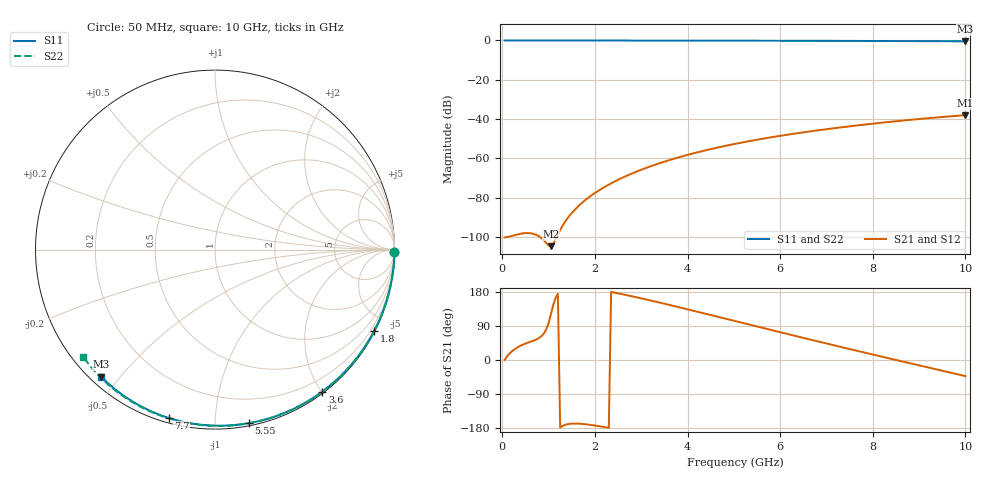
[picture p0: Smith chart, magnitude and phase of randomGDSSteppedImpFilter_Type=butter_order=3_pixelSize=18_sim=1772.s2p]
! freq	dB(S11)	phase(S11)	dB(S12)	phase(S12)
!  dB(S21)	phase(S21)	dB(S22)	phase(S22)
!S-par simulation data
#  GHz  S  DB  R 50
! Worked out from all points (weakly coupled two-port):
!   200 points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, 50 MHz to 10 GHz, reference 50 ohm
!   highest |S21| = -37.99 dB at 10 GHz (marker M1); lowest = -104.6 dB at 1.05 GHz (marker M2)
!   lowest |S11| = -0.4 dB at 10 GHz (marker M3), VSWR 39.00, Z = 1.54 - j22.3 ohm
!   |S11| at or under -10 dB: nowhere
!   |S22| runs from -0.5 to 0.0 dB; largest |S21 - S12| = 0
!   S11 on the Smith chart (normalised r, x): 50 MHz: open; 1.8 GHz: 0.04, -4.15; 3.6 GHz: 0.02, -2.01; 5.55 GHz: 0.02, -1.21; 7.7 GHz: 0.02, -0.76; 10 GHz: 0.03, -0.45
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0.05  -0.00 -0.8  -100.16 -0.2  -100.16 -0.2  -0.00 -0.8
0.55  -0.01 -8.4  -97.92 45.6  -97.92 45.6  -0.01 -9.0
1.05  -0.02 -15.9  -104.59 121.0  -104.59 121.0  -0.02 -17.1
1.75  -0.03 -26.3  -81.97 -168.9  -81.97 -168.9  -0.04 -28.2
1.8  -0.03 -27.1  -81.00 -169.5  -81.00 -169.5  -0.04 -29.0
1.85  -0.04 -27.8  -80.08 -170.3  -80.08 -170.3  -0.04 -29.8
2.05  -0.04 -30.7  -76.77 -173.8  -76.77 -173.8  -0.04 -32.9
2.2  -0.04 -32.9  -74.61 -177.0  -74.61 -177.0  -0.04 -35.3
2.55  -0.05 -38.0  -70.26 174.7  -70.26 174.7  -0.05 -40.7
2.95  -0.06 -43.8  -66.19 164.1  -66.19 164.1  -0.06 -46.8
3.4  -0.07 -50.1  -62.38 151.4  -62.38 151.4  -0.07 -53.6
3.6  -0.07 -52.9  -60.88 145.6  -60.88 145.6  -0.08 -56.6
3.9  -0.08 -57.1  -58.82 136.8  -58.82 136.8  -0.08 -61.0
4.3  -0.09 -62.5  -56.36 124.8  -56.36 124.8  -0.09 -66.8
5.05  -0.11 -72.5  -52.46 102.1  -52.46 102.1  -0.12 -77.4
5.55  -0.13 -79.0  -50.26 86.9  -50.26 86.9  -0.14 -84.3
6.1  -0.15 -86.0  -48.12 70.3  -48.12 70.3  -0.16 -91.7
6.7  -0.18 -93.4  -46.06 52.4  -46.06 52.4  -0.19 -99.6
7.7  -0.24 -105.4  -43.10 23.1  -43.10 23.1  -0.26 -112.4
8.35  -0.29 -113.0  -41.43 4.4  -41.43 4.4  -0.31 -120.5
9.2  -0.36 -122.8  -39.51 -19.8  -39.51 -19.8  -0.39 -131.0
10  -0.45 -131.9  -37.99 -42.5  -37.99 -42.5  -0.47 -140.8
